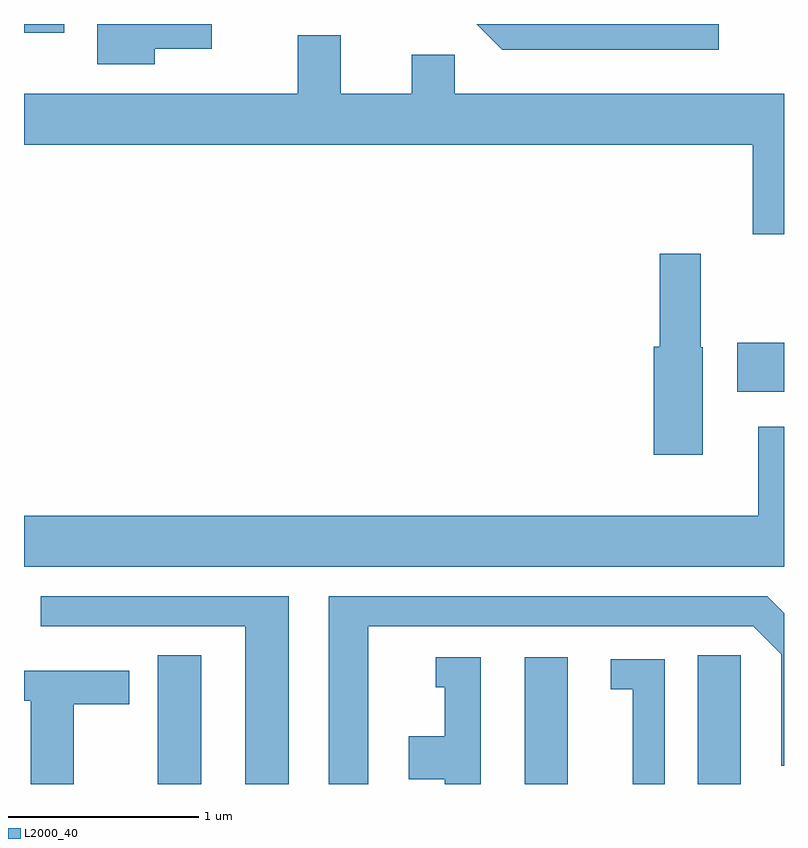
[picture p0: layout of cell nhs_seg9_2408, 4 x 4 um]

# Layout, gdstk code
import gdstk
lib = gdstk.Library(unit=1e-6, precision=1e-09)
def R(c, l, rs):  # rectangles x0, y0, x1, y1
    for r in rs: c.add(gdstk.rectangle(r[:2], r[2:], *l))
def P(c, l, *ps):  # polygons
    for p in ps: c.add(gdstk.Polygon(p, *l))
L2000_40 = (2000, 40)

nhs_seg9_2408 = lib.new_cell('nhs_seg9_2408')
R(nhs_seg9_2408, L2000_40, [(256.316,2008.432,256.544,2009.109), (258.246,2008.432,258.474,2009.099), (259.156,2008.432,259.384,2009.109), (259.366,2010.496,259.611,2010.754), (255.611,2012.386,255.824,2012.432)])
P(nhs_seg9_2408, L2000_40, [(259.267,2012.432),(257.993,2012.432),(258.129,2012.296),(259.267,2012.296)],
  [(256.299,2012.301),(256.599,2012.301),(256.599,2012.432),(255.996,2012.432),(255.996,2012.221),(256.299,2012.221)],
  [(259.446,2011.326),(259.611,2011.326),(259.611,2012.064),(257.879,2012.064),(257.879,2012.269),(257.651,2012.269),(257.651,2012.064),(257.279,2012.064),(257.279,2012.374),(257.051,2012.374),(257.051,2012.064),(255.611,2012.064),(255.611,2011.796),(259.446,2011.796)],
  [(259.184,2010.73),(259.174,2010.73),(259.174,2011.224),(258.956,2011.224),(258.956,2010.734),(258.926,2010.734),(258.926,2010.166),(259.184,2010.166)],
  [(259.611,2010.313),(259.476,2010.313),(259.476,2009.844),(255.611,2009.844),(255.611,2009.576),(259.611,2009.576)],
  [(257.004,2009.419),(255.698,2009.419),(255.698,2009.261),(256.776,2009.261),(256.776,2008.432),(257.004,2008.432)],
  [(257.424,2009.261),(259.449,2009.261),(259.596,2009.114),(259.596,2008.528),(259.611,2008.528),(259.611,2009.33),(259.522,2009.419),(257.216,2009.419),(257.216,2008.432),(257.424,2008.432)],
  [(258.014,2009.099),(257.778,2009.099),(257.778,2008.941),(257.826,2008.941),(257.826,2008.684),(257.636,2008.684),(257.636,2008.456),(257.826,2008.456),(257.826,2008.432),(258.014,2008.432)],
  [(258.984,2009.089),(258.698,2009.089),(258.698,2008.931),(258.816,2008.931),(258.816,2008.432),(258.984,2008.432)],
  [(255.874,2008.851),(256.164,2008.851),(256.164,2009.029),(255.611,2009.029),(255.611,2008.871),(255.646,2008.871),(255.646,2008.432),(255.874,2008.432)])

lib.write_gds('nhs_seg9_2408.gds')
